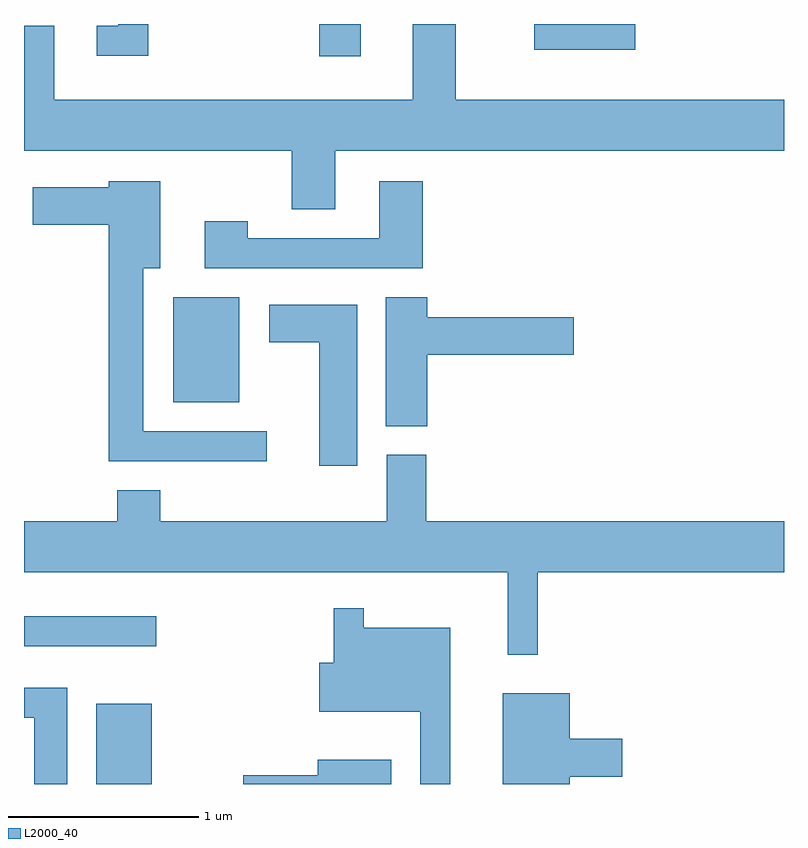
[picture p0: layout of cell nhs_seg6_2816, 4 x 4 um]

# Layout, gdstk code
import gdstk
lib = gdstk.Library(unit=1e-6, precision=1e-09)
def R(c, l, rs):  # rectangles x0, y0, x1, y1
    for r in rs: c.add(gdstk.rectangle(r[:2], r[2:], *l))
def P(c, l, *ps):  # polygons
    for p in ps: c.add(gdstk.Polygon(p, *l))
L2000_40 = (2000, 40)

nhs_seg6_2816 = lib.new_cell('nhs_seg6_2816')
R(nhs_seg6_2816, L2000_40, [(269.991,1642.162,270.284,1642.584), (269.611,1642.886,270.308,1643.044), (270.396,1644.171,270.744,1644.724), (271.166,1645.991,271.384,1646.162), (272.296,1646.026,272.828,1646.162)])
P(nhs_seg6_2816, L2000_40, [(270.264,1646.162),(270.106,1646.162),(270.106,1646.154),(269.993,1646.154),(269.993,1645.996),(270.264,1645.996)],
  [(271.249,1645.496),(273.611,1645.496),(273.611,1645.764),(271.884,1645.764),(271.884,1646.162),(271.656,1646.162),(271.656,1645.764),(269.769,1645.764),(269.769,1646.154),(269.611,1646.154),(269.611,1645.496),(271.021,1645.496),(271.021,1645.186),(271.249,1645.186)],
  [(271.709,1645.334),(271.481,1645.334),(271.481,1645.034),(270.789,1645.034),(270.789,1645.124),(270.561,1645.124),(270.561,1644.876),(271.709,1644.876)],
  [(270.888,1644.019),(270.239,1644.019),(270.239,1644.876),(270.329,1644.876),(270.329,1645.334),(270.056,1645.334),(270.056,1645.304),(269.656,1645.304),(269.656,1645.106),(270.056,1645.106),(270.056,1643.861),(270.888,1643.861)],
  [(271.734,1644.421),(272.504,1644.421),(272.504,1644.619),(271.734,1644.619),(271.734,1644.724),(271.516,1644.724),(271.516,1644.046),(271.734,1644.046)],
  [(271.364,1644.684),(270.901,1644.684),(270.901,1644.486),(271.166,1644.486),(271.166,1643.836),(271.364,1643.836)],
  [(272.314,1643.276),(273.611,1643.276),(273.611,1643.544),(271.729,1643.544),(271.729,1643.894),(271.521,1643.894),(271.521,1643.544),(270.329,1643.544),(270.329,1643.709),(270.101,1643.709),(270.101,1643.544),(269.611,1643.544),(269.611,1643.276),(272.156,1643.276),(272.156,1642.843),(272.314,1642.843)],
  [(271.854,1642.984),(271.399,1642.984),(271.399,1643.088),(271.241,1643.088),(271.241,1642.799),(271.166,1642.799),(271.166,1642.541),(271.696,1642.541),(271.696,1642.162),(271.854,1642.162)],
  [(269.839,1642.669),(269.611,1642.669),(269.611,1642.511),(269.666,1642.511),(269.666,1642.162),(269.839,1642.162)],
  [(272.484,1642.201),(272.759,1642.201),(272.759,1642.399),(272.484,1642.399),(272.484,1642.639),(272.131,1642.639),(272.131,1642.162),(272.484,1642.162)],
  [(271.544,1642.289),(271.156,1642.289),(271.156,1642.209),(270.766,1642.209),(270.766,1642.162),(271.544,1642.162)])

lib.write_gds('nhs_seg6_2816.gds')
